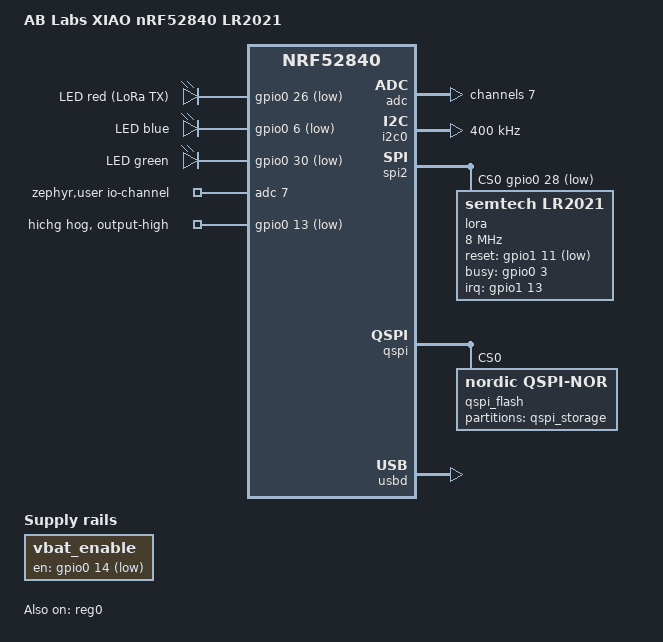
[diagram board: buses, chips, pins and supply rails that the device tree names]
/*
 * AB Labs XIAO nRF52840 + Wio-LR2021 carrier
 * SPDX-License-Identifier: MIT
 *
 * MeshCore variants/ab_xiao_nrf52_lr2021 (platformio.ini):
 *   D1  P0.03  LR2021 BUSY          D6  P1.11  LR2021 NRESET
 *   D2  P0.28  LR2021 NSS           D7  P1.12  LR2021 DIO7  (unused)
 *   D3  P0.29  SPI SCK              D8  P1.13  LR2021 IRQ (chip DIO8)
 *   D4  P0.04  SPI MOSI             D9  P1.14  LR2021 DIO11 (unused)
 *   D5  P0.05  SPI MISO             D0/D10 P0.02/P1.15  I2C SDA/SCL
 * - No user button.
 * - LEDs, battery sense, HICHG and QSPI flash are the XIAO's own, as xiao_nrf52840.
 * - 32 MHz TCXO on VTCXO at 1.6 V (MeshCore LR2021_TCXO_VOLTAGE); no RF switch DIOs.
 */

/dts-v1/;
#include <nordic/nrf52840_qiaa.dtsi>
#include <nordic/nrf52840_partition.dtsi>
#include <zephyr/dt-bindings/adc/nrf-saadc.h>
#include "ab_labs_xiao_nrf52840_lr2021-pinctrl.dtsi"

/delete-node/ &boot_partition;
/delete-node/ &slot0_partition;
/delete-node/ &slot1_partition;
/delete-node/ &storage_partition;

/ {
	model = "AB Labs XIAO nRF52840 LR2021";
	compatible = "ablabs,xiao-nrf52840-lr2021";

	chosen {
		zephyr,code-partition = &code_partition;
		zephyr,console = &cdc_acm_uart;
		zephyr,shell-uart = &cdc_acm_uart;
	};

	leds {
		compatible = "gpio-leds";

		led_red: led_0 {
			gpios = <&gpio0 26 GPIO_ACTIVE_LOW>;
			label = "LED red (LoRa TX)";
		};

		led_blue: led_1 {
			gpios = <&gpio0 6 GPIO_ACTIVE_LOW>;
			label = "LED blue";
		};

		led_green: led_2 {
			gpios = <&gpio0 30 GPIO_ACTIVE_LOW>;
			label = "LED green";
		};
	};

	/* Battery divider enable, P0.14. Held LOW: see xiao_nrf52840. */
	vbat_enable: vbat-enable {
		compatible = "regulator-fixed";
		regulator-name = "vbat-enable";
		enable-gpios = <&gpio0 14 GPIO_ACTIVE_LOW>;
		regulator-always-on;
	};

	zephyr,user {
		io-channels = <&adc 7>;
		vbat-mv-multiplier = <10911>;
	};

	aliases {
		led0 = &led_blue;
		led1 = &led_green;
		lora-tx-led = &led_red;
		lora0 = &lora;
		watchdog0 = &wdt0;
	};
};

&reg0 {
	status = "okay";
};

&reg1 {
	regulator-initial-mode = <NRF5X_REG_MODE_DCDC>;
};

&adc {
	status = "okay";
	#address-cells = <1>;
	#size-cells = <0>;

	channel@7 {
		reg = <7>;
		zephyr,gain = "ADC_GAIN_1_6";
		zephyr,reference = "ADC_REF_INTERNAL";
		zephyr,acquisition-time = <ADC_ACQ_TIME(ADC_ACQ_TIME_MICROSECONDS, 10)>;
		zephyr,input-positive = <NRF_SAADC_AIN7>;
		zephyr,resolution = <12>;
	};
};

&uicr {
	nfct-pins-as-gpios;
};

&gpiote {
	status = "okay";
};

&gpio0 {
	status = "okay";

	/* HICHG: BQ25100 at 100 mA, as MeshCore initVariant(). */
	hichg {
		gpio-hog;
		gpios = <13 GPIO_ACTIVE_LOW>;
		output-high;
		line-name = "hichg";
	};
};

&gpio1 {
	status = "okay";
};

&uart0 {
	status = "disabled";
};

&i2c0 {
	compatible = "nordic,nrf-twim";
	status = "okay";
	clock-frequency = <I2C_BITRATE_FAST>;
	pinctrl-0 = <&i2c0_default>;
	pinctrl-1 = <&i2c0_sleep>;
	pinctrl-names = "default", "sleep";

	#include "../../common/sensors-i2c.dtsi"
};

&spi2 {
	compatible = "nordic,nrf-spim";
	status = "okay";
	cs-gpios = <&gpio0 28 GPIO_ACTIVE_LOW>;
	pinctrl-0 = <&spi2_default>;
	pinctrl-1 = <&spi2_sleep>;
	pinctrl-names = "default", "sleep";
	/* 0x00 = LR2021 NOP; Nordic's 0xff default reads as an opcode */
	overrun-character = <0x00>;

	lora: lora@0 {
		compatible = "semtech,lr2021";
		reg = <0>;
		spi-max-frequency = <8000000>;

		reset-gpios = <&gpio1 11 GPIO_ACTIVE_LOW>;
		busy-gpios = <&gpio0 3 GPIO_ACTIVE_HIGH>;
		irq-gpios = <&gpio1 13 (GPIO_PULL_DOWN | GPIO_ACTIVE_HIGH)>;
		irq-dio = <8>;
		tcxo-voltage = <1600>;

		rx-boosted;
	};
};

&qspi {
	status = "okay";
	pinctrl-0 = <&qspi_default>;
	pinctrl-1 = <&qspi_sleep>;
	pinctrl-names = "default", "sleep";

	qspi_flash: qspi_flash@0 {
		compatible = "nordic,qspi-nor";
		reg = <0>;
		writeoc = "pp";
		readoc = "fastread";
		sck-frequency = <16000000>;
		jedec-id = [85 60 15];
		sfdp-bfp = [
			e5 20 f1 ff  ff ff ff 01  44 eb 08 6b  08 3b 04 bb
			ee ff ff ff  ff ff 00 ff  ff ff 00 ff  0c 20 0f 52
			10 d8 00 ff
		];
		size = <16777216>;
		has-dpd;
		t-enter-dpd = <3000>;
	};
};

zephyr_udc0: &usbd {
	compatible = "nordic,nrf-usbd";
	status = "okay";

	cdc_acm_uart: cdc_acm_uart {
		compatible = "zephyr,cdc-acm-uart";
	};
};

#include "../../common/nrf52_partitions_sdv7.dtsi"

&qspi_flash {
	partitions {
		compatible = "fixed-partitions";
		#address-cells = <1>;
		#size-cells = <1>;

		qspi_storage_partition: partition@0 {
			label = "qspi_storage";
			reg = <0x00000000 0x00200000>;
		};
	};
};
